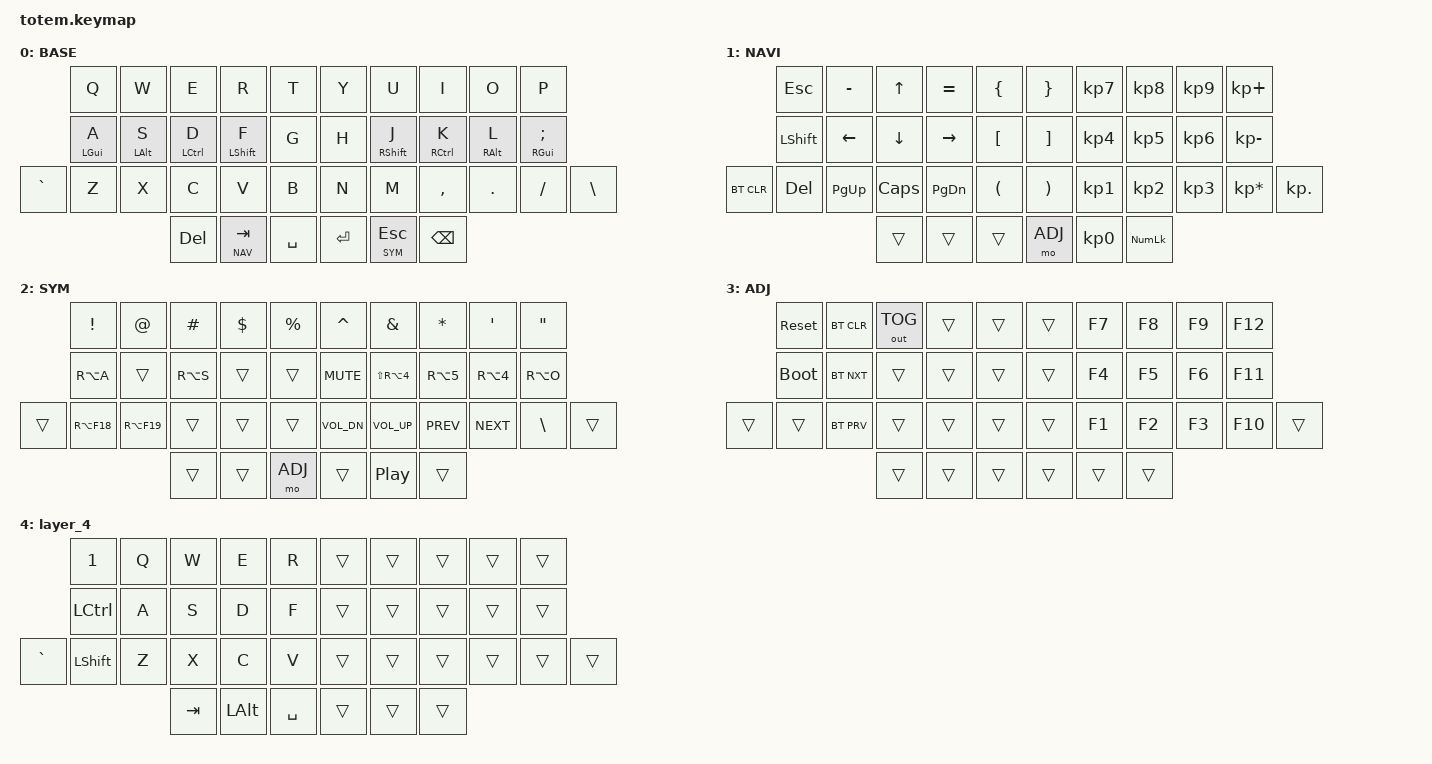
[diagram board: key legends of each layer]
//
//                                                        ▀▀▀▀▀     ▀▀▀▀▀          ▀▀█▀▀
//                                                        ▄▀▀▀▄  ▄  ▄▀▀▀▄  ▄  ▄▀▀▀▄  █  ▄▀▀▀▄
//                                                        █   █  █  █   █  █  █   █  █  █   █
//                                                         ▀▀▀   █   ▀▀▀   █   ▀▀▀   ▀   ▀▀▀
//                                                               █      ▄▄▄█▄▄▄    █   █  
//                                                               ▀      █  █  █     █▄█
//                                                             ▀▀▀▀▀    █  █  █      ▀
//                                                                      ▀  ▀  ▀
//
// ▄▄▄▄▄▄▄▄▄▄▄▄▄▄▄▄▄▄▄▄▄▄▄▄▄▄▄▄▄▄▄▄▄▄▄▄▄▄▄▄▄▄▄▄▄▄▄▄▄▄▄▄▄▄▄▄▄▄▄▄▄▄▄▄▄▄▄▄▄▄▄▄▄▄▄▄▄▄▄▄▄▄▄▄▄▄▄▄▄▄▄▄▄▄▄▄▄▄▄▄▄▄▄▄▄▄▄▄▄▄▄▄▄▄▄▄▄▄▄▄▄▄▄▄▄▄▄▄▄▄▄▄▄▄▄▄▄▄▄▄▄▄▄▄▄▄▄▄▄

#include <behaviors.dtsi>
#include <dt-bindings/zmk/bt.h>
#include <dt-bindings/zmk/keys.h>
#include <dt-bindings/zmk/keys.h>
#include <dt-bindings/zmk/outputs.h>

#define BASE 0
#define NAV  1
#define SYM  2
#define ADJ  3

&mt {
    quick-tap-ms = <100>;
    global-quick-tap;
    flavor = "tap-preferred";
    tapping-term-ms = <170>;
};

/ {
    combos {
        compatible = "zmk,combos";

        combo_esc {
            timeout-ms = <50>;
            key-positions = <0 1>;
            bindings = <&kp ESC>;
        };

        two {
            bindings = <&kt NUMBER_2>;
            key-positions = <0 32>;
        };

        three {
            bindings = <&kp NUMBER_3>;
            key-positions = <0 33>;
        };

        four {
            bindings = <&kp NUMBER_4>;
            key-positions = <0 34>;
        };

        game-layer {
            bindings = <&tog 4>;
            key-positions = <11 12 13>;
        };
    };

    keymap {
        compatible = "zmk,keymap";

        // ▄▄▄▄▄▄▄▄▄▄▄▄▄▄▄▄▄▄▄▄▄▄▄▄▄▄▄▄▄▄▄▄▄▄▄▄▄▄▄▄▄▄▄▄▄▄▄▄▄▄▄▄▄▄▄▄▄▄▄▄▄▄▄▄▄▄▄▄▄▄▄▄▄▄▄▄▄▄▄▄▄▄▄▄▄▄▄▄▄▄▄▄▄▄▄▄▄▄▄▄▄▄▄▄▄▄▄▄▄▄▄▄▄▄▄▄▄▄▄▄▄▄▄▄▄▄▄▄▄▄▄▄▄▄▄▄▄▄▄▄▄▄▄▄▄▄▄▄▄

        base_layer {
            // ┏━━━━━━━━━━━━━━━━━━━━━━━━━━━━━━━━━━━━━━━┓

            label = "BASE";

            // ┗━━━━━━━━━━━━━━━━━━━━━━━━━━━━━━━━━━━━━━━┛
            //             ┏━━━━━━━━━━━┳━━━━━━━━━━━┳━━━━━━━━━━━┳━━━━━━━━━━━┳━━━━━━━━━━━┓   ┏━━━━━━━━━━━┳━━━━━━━━━━━┳━━━━━━━━━━━┳━━━━━━━━━━━┳━━━━━━━━━━━┓
            //             ┃     Q     ┃     W     ┃     E     ┃     R     ┃     T     ┃   ┃     Y     ┃     U     ┃     I     ┃     O     ┃     P     ┃
            //             ┣━━━━━━━━━━━╋━━━━━━━━━━━╋━━━━━━━━━━━╋━━━━━━━━━━━╋━━━━━━━━━━━┫   ┣━━━━━━━━━━━╋━━━━━━━━━━━╋━━━━━━━━━━━╋━━━━━━━━━━━╋━━━━━━━━━━━┫
            //             ┃     A     ┃     S     ┃     D     ┃     F     ┃     G     ┃   ┃     H     ┃     J     ┃     K     ┃     L     ┃     ;     ┃
            // ┏━━━━━━━━━━━╋━━━━━━━━━━━╋━━━━━━━━━━━╋━━━━━━━━━━━╋━━━━━━━━━━━╋━━━━━━━━━━━┫   ┣━━━━━━━━━━━╋━━━━━━━━━━━╋━━━━━━━━━━━╋━━━━━━━━━━━╋━━━━━━━━━━━╋━━━━━━━━━━━┓
            // ┃     Q     ┃     Z     ┃     X     ┃     C     ┃     V     ┃     B     ┃   ┃     N     ┃     M     ┃     ,     ┃     .     ┃     /     ┃     \     ┃
            // ┗━━━━━━━━━━━┻━━━━━━━━━━━┻━━━━━━━━━━━╋━━━━━━━━━━━╋━━━━━━━━━━━╋━━━━━━━━━━━┫   ┣━━━━━━━━━━━╋━━━━━━━━━━━╋━━━━━━━━━━━╋━━━━━━━━━━━┻━━━━━━━━━━━┻━━━━━━━━━━━┛
            //                                     ┃    DEL    ┃    TAB    ┃    SPC    ┃   ┃   ENTER   ┃           ┃   BSPC    ┃
            //                                     ┗━━━━━━━━━━━┻━━━━━━━━━━━┻━━━━━━━━━━━┛   ┗━━━━━━━━━━━┻━━━━━━━━━━━┻━━━━━━━━━━━┛

            bindings = <
           &kp Q       &kp W       &kp E        &kp R        &kp T        &kp Y    &kp U        &kp I        &kp O       &kp P
           &mt LGUI A  &mt LALT S  &mt LCTRL D  &mt LSHFT F  &kp G        &kp H    &mt RSHFT J  &mt RCTRL K  &mt RALT L  &mt RGUI SEMI
&kp GRAVE  &kp Z       &kp X       &kp C        &kp V        &kp B        &kp N    &kp M        &kp COMMA    &kp DOT     &kp FSLH       &kp BSLH
                                   &kp DEL      &lt NAV TAB  &kp SPACE    &kp RET  &lt SYM ESC  &kp BSPC
            >;
        };

        // ▄▄▄▄▄▄▄▄▄▄▄▄▄▄▄▄▄▄▄▄▄▄▄▄▄▄▄▄▄▄▄▄▄▄▄▄▄▄▄▄▄▄▄▄▄▄▄▄▄▄▄▄▄▄▄▄▄▄▄▄▄▄▄▄▄▄▄▄▄▄▄▄▄▄▄▄▄▄▄▄▄▄▄▄▄▄▄▄▄▄▄▄▄▄▄▄▄▄▄▄▄▄▄▄▄▄▄▄▄▄▄▄▄▄▄▄▄▄▄▄▄▄▄▄▄▄▄▄▄▄▄▄▄▄▄▄▄▄▄▄▄▄▄▄▄▄▄▄▄

        nav_layer {
            // ┏━━━━━━━━━━━━━━━━━━━━━━━━━━━━━━━━━━━━━━━┓

            label = "NAVI";

            // ┗━━━━━━━━━━━━━━━━━━━━━━━━━━━━━━━━━━━━━━━┛
            //             ┏━━━━━━━━━━━┳━━━━━━━━━━━┳━━━━━━━━━━━┳━━━━━━━━━━━┳━━━━━━━━━━━┓   ┏━━━━━━━━━━━┳━━━━━━━━━━━┳━━━━━━━━━━━┳━━━━━━━━━━━┳━━━━━━━━━━━┓
            //             ┃           ┃           ┃     UP    ┃           ┃     {     ┃   ┃     }     ┃     7     ┃     8     ┃     9     ┃     +     ┃
            //             ┣━━━━━━━━━━━╋━━━━━━━━━━━╋━━━━━━━━━━━╋━━━━━━━━━━━╋━━━━━━━━━━━┫   ┣━━━━━━━━━━━╋━━━━━━━━━━━╋━━━━━━━━━━━╋━━━━━━━━━━━╋━━━━━━━━━━━┫
            //             ┃   SHIFT   ┃   LEFT    ┃    DOWN   ┃   RIGHT   ┃     [     ┃   ┃     ]     ┃     4     ┃     5     ┃     6     ┃     -     ┃
            // ┏━━━━━━━━━━━╋━━━━━━━━━━━╋━━━━━━━━━━━╋━━━━━━━━━━━╋━━━━━━━━━━━╋━━━━━━━━━━━┫   ┣━━━━━━━━━━━╋━━━━━━━━━━━╋━━━━━━━━━━━╋━━━━━━━━━━━╋━━━━━━━━━━━╋━━━━━━━━━━━┓
            // ┃           ┃           ┃   P UP    ┃  C LOCK   ┃  P DOWN   ┃     (     ┃   ┃     )     ┃     1     ┃     2     ┃     3     ┃     *     ┃           ┃
            // ┗━━━━━━━━━━━┻━━━━━━━━━━━┻━━━━━━━━━━━╋━━━━━━━━━━━╋━━━━━━━━━━━╋━━━━━━━━━━━┫   ┣━━━━━━━━━━━╋━━━━━━━━━━━╋━━━━━━━━━━━╋━━━━━━━━━━━┻━━━━━━━━━━━┻━━━━━━━━━━━┛
            //                                     ┃           ┃    TAB    ┃    SPC    ┃   ┃    DEL    ┃     0     ┃           ┃
            //                                     ┗━━━━━━━━━━━┻━━━━━━━━━━━┻━━━━━━━━━━━┛   ┗━━━━━━━━━━━┻━━━━━━━━━━━┻━━━━━━━━━━━┛

            bindings = <
            &kp ESC    &kp MINUS  &kp UP    &kp EQUAL  &kp LBRC    &kp RBRC  &kp KP_N7  &kp KP_N8       &kp KP_N9  &kp KP_PLUS
            &kp LSHFT  &kp LEFT   &kp DOWN  &kp RIGHT  &kp LBKT    &kp RBKT  &kp KP_N4  &kp KP_N5       &kp KP_N6  &kp KP_MINUS
&bt BT_CLR  &kp DEL    &kp PG_UP  &kp CAPS  &kp PG_DN  &kp LPAR    &kp RPAR  &kp KP_N1  &kp KP_N2       &kp KP_N3  &kp KP_MULTIPLY  &kp KP_DOT
                                  &trans    &trans     &trans      &mo ADJ   &kp KP_N0  &kp KP_NUMLOCK
            >;
        };

        // ▄▄▄▄▄▄▄▄▄▄▄▄▄▄▄▄▄▄▄▄▄▄▄▄▄▄▄▄▄▄▄▄▄▄▄▄▄▄▄▄▄▄▄▄▄▄▄▄▄▄▄▄▄▄▄▄▄▄▄▄▄▄▄▄▄▄▄▄▄▄▄▄▄▄▄▄▄▄▄▄▄▄▄▄▄▄▄▄▄▄▄▄▄▄▄▄▄▄▄▄▄▄▄▄▄▄▄▄▄▄▄▄▄▄▄▄▄▄▄▄▄▄▄▄▄▄▄▄▄▄▄▄▄▄▄▄▄▄▄▄▄▄▄▄▄▄▄▄▄

        sim_layer {
            // ┏━━━━━━━━━━━━━━━━━━━━━━━━━━━━━━━━━━━━━━━┓

            label = "SYM";

            // ┗━━━━━━━━━━━━━━━━━━━━━━━━━━━━━━━━━━━━━━━┛
            //             ┏━━━━━━━━━━━┳━━━━━━━━━━━┳━━━━━━━━━━━┳━━━━━━━━━━━┳━━━━━━━━━━━┓   ┏━━━━━━━━━━━┳━━━━━━━━━━━┳━━━━━━━━━━━┳━━━━━━━━━━━┳━━━━━━━━━━━┓
            //             ┃     !     ┃     @     ┃     #     ┃     $     ┃     %     ┃   ┃     ˆ     ┃     &     ┃     Ü     ┃     '     ┃     "     ┃
            //             ┣━━━━━━━━━━━╋━━━━━━━━━━━╋━━━━━━━━━━━╋━━━━━━━━━━━╋━━━━━━━━━━━┫   ┣━━━━━━━━━━━╋━━━━━━━━━━━╋━━━━━━━━━━━╋━━━━━━━━━━━╋━━━━━━━━━━━┫
            //             ┃     Ä     ┃           ┃    SZ     ┃           ┃           ┃   ┃   MUTE    ┃   YEN     ┃   EURO    ┃  POUND    ┃     Ö     ┃
            // ┏━━━━━━━━━━━╋━━━━━━━━━━━╋━━━━━━━━━━━╋━━━━━━━━━━━╋━━━━━━━━━━━╋━━━━━━━━━━━┫   ┣━━━━━━━━━━━╋━━━━━━━━━━━╋━━━━━━━━━━━╋━━━━━━━━━━━╋━━━━━━━━━━━╋━━━━━━━━━━━┓
            // ┃           ┃  EMAIL1   ┃  EMAIL2   ┃           ┃           ┃           ┃   ┃   VOL-    ┃   VOL+    ┃   LAST    ┃   NEXT    ┃     \     ┃           ┃
            // ┗━━━━━━━━━━━┻━━━━━━━━━━━┻━━━━━━━━━━━╋━━━━━━━━━━━╋━━━━━━━━━━━╋━━━━━━━━━━━┫   ┣━━━━━━━━━━━╋━━━━━━━━━━━╋━━━━━━━━━━━╋━━━━━━━━━━━┻━━━━━━━━━━━┻━━━━━━━━━━━┛
            //                                     ┃           ┃    GIF    ┃    ADJ    ┃   ┃           ┃           ┃           ┃
            //                                     ┗━━━━━━━━━━━┻━━━━━━━━━━━┻━━━━━━━━━━━┛   ┗━━━━━━━━━━━┻━━━━━━━━━━━┻━━━━━━━━━━━┛

            bindings = <
        &kp EXCL     &kp AT       &kp HASH   &kp DLLR  &kp PRCNT    &kp CARET     &kp AMPS        &kp STAR    &kp SQT     &kp DQT
        &kp RA(A)    &trans       &kp RA(S)  &trans    &trans       &kp C_MUTE    &kp LS(RA(N4))  &kp RA(N5)  &kp RA(N4)  &kp RA(O)
&trans  &kp RA(F18)  &kp RA(F19)  &trans     &trans    &trans       &kp C_VOL_DN  &kp C_VOL_UP    &kp C_PREV  &kp C_NEXT  &kp BSLH   &trans
                                  &trans     &trans    &mo ADJ      &trans        &kp C_PP        &trans
            >;
        };

        // ▄▄▄▄▄▄▄▄▄▄▄▄▄▄▄▄▄▄▄▄▄▄▄▄▄▄▄▄▄▄▄▄▄▄▄▄▄▄▄▄▄▄▄▄▄▄▄▄▄▄▄▄▄▄▄▄▄▄▄▄▄▄▄▄▄▄▄▄▄▄▄▄▄▄▄▄▄▄▄▄▄▄▄▄▄▄▄▄▄▄▄▄▄▄▄▄▄▄▄▄▄▄▄▄▄▄▄▄▄▄▄▄▄▄▄▄▄▄▄▄▄▄▄▄▄▄▄▄▄▄▄▄▄▄▄▄▄▄▄▄▄▄▄▄▄▄▄▄▄

        adjust_layer {
            // ┏━━━━━━━━━━━━━━━━━━━━━━━━━━━━━━━━━━━━━━━┓

            label = "ADJ";

            // ┗━━━━━━━━━━━━━━━━━━━━━━━━━━━━━━━━━━━━━━━┛
            //             ┏━━━━━━━━━━━┳━━━━━━━━━━━┳━━━━━━━━━━━┳━━━━━━━━━━━┳━━━━━━━━━━━┓   ┏━━━━━━━━━━━┳━━━━━━━━━━━┳━━━━━━━━━━━┳━━━━━━━━━━━┳━━━━━━━━━━━┓
            //             ┃   RESET   ┃ BT CLEAR  ┃  OUT TOG  ┃           ┃           ┃   ┃           ┃    F7     ┃    F8     ┃    F9     ┃    F12    ┃
            //             ┣━━━━━━━━━━━╋━━━━━━━━━━━╋━━━━━━━━━━━╋━━━━━━━━━━━╋━━━━━━━━━━━┫   ┣━━━━━━━━━━━╋━━━━━━━━━━━╋━━━━━━━━━━━╋━━━━━━━━━━━╋━━━━━━━━━━━┫
            //             ┃ BOOTLOAD  ┃ BT NEXT   ┃           ┃           ┃           ┃   ┃           ┃    F4     ┃    F5     ┃    F6     ┃    F11    ┃
            // ┏━━━━━━━━━━━╋━━━━━━━━━━━╋━━━━━━━━━━━╋━━━━━━━━━━━╋━━━━━━━━━━━╋━━━━━━━━━━━┫   ┣━━━━━━━━━━━╋━━━━━━━━━━━╋━━━━━━━━━━━╋━━━━━━━━━━━╋━━━━━━━━━━━╋━━━━━━━━━━━┓
            // ┃           ┃           ┃ BT PREV   ┃           ┃           ┃           ┃   ┃           ┃    F1     ┃    F2     ┃    F3     ┃    F10    ┃           ┃
            // ┗━━━━━━━━━━━┻━━━━━━━━━━━┻━━━━━━━━━━━╋━━━━━━━━━━━╋━━━━━━━━━━━╋━━━━━━━━━━━┫   ┣━━━━━━━━━━━╋━━━━━━━━━━━╋━━━━━━━━━━━╋━━━━━━━━━━━┻━━━━━━━━━━━┻━━━━━━━━━━━┛
            //                                     ┃           ┃           ┃           ┃   ┃           ┃           ┃           ┃
            //                                     ┗━━━━━━━━━━━┻━━━━━━━━━━━┻━━━━━━━━━━━┛   ┗━━━━━━━━━━━┻━━━━━━━━━━━┻━━━━━━━━━━━┛

            bindings = <
        &sys_reset   &bt BT_CLR  &out OUT_TOG  &trans  &trans    &trans  &kp F7  &kp F8  &kp F9  &kp F12
        &bootloader  &bt BT_NXT  &trans        &trans  &trans    &trans  &kp F4  &kp F5  &kp F6  &kp F11
&trans  &trans       &bt BT_PRV  &trans        &trans  &trans    &trans  &kp F1  &kp F2  &kp F3  &kp F10  &trans
                                 &trans        &trans  &trans    &trans  &trans  &trans
            >;
        };

        layer_4 {
            bindings = <
           &kp N1     &kp Q  &kp W    &kp E     &kp R        &trans  &trans  &trans  &trans  &trans
           &kp LCTRL  &kp A  &kp S    &kp D     &kp F        &trans  &trans  &trans  &trans  &trans
&kp GRAVE  &kp LSHFT  &kp Z  &kp X    &kp C     &kp V        &trans  &trans  &trans  &trans  &trans  &trans
                             &kp TAB  &kp LALT  &kp SPACE    &trans  &trans  &trans
            >;
        };
    };
};
